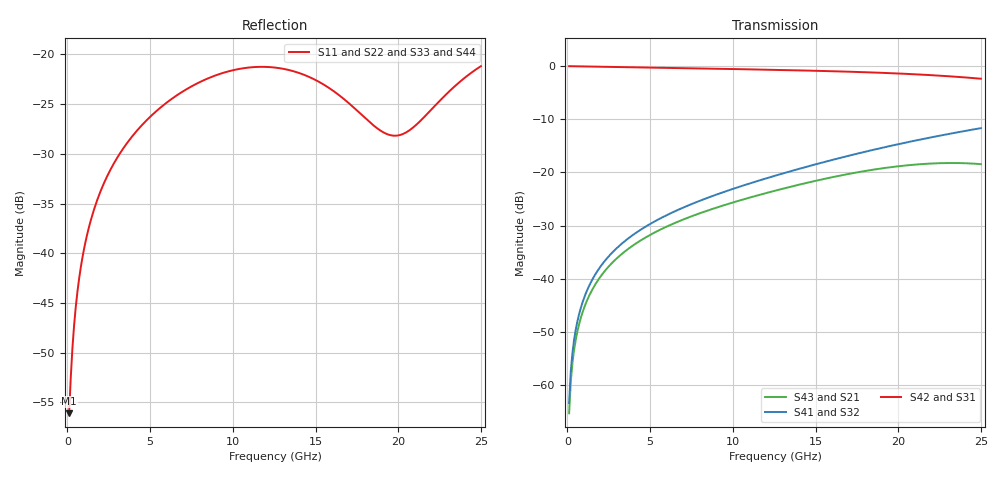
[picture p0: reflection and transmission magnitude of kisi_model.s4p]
! kisi E_s8_L1L8_p1000_round_g4: fast channel model (formula impedances, via model), up to 25 GHz
# Hz S RI R 50
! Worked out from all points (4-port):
!   250 points, 100 MHz to 25 GHz, reference 50 ohm
!   strongest paths, dB at 100 MHz, 6.3 GHz, 12.6 GHz, 18.8 GHz, 25 GHz:
!     S42: 0.0, -0.3, -0.7, -1.2, -2.4
!     S31: 0.0, -0.3, -0.7, -1.2, -2.4
!     S41: -63.4, -27.6, -20.6, -15.5, -11.7
!     S32: -63.4, -27.6, -20.6, -15.5, -11.7
!     S43: -65.3, -29.8, -23.4, -19.3, -18.4
!     S21: -65.3, -29.8, -23.4, -19.3, -18.4
!   lowest |S11| = -56.1 dB at 100 MHz (marker M1), VSWR 1.00, Z = 50.1 - j0.102 ohm
!   |S11| at or under -10 dB: start of sweep to end of sweep
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1e8  0.00119 -0.00102  2.67e-05 0.000544  0.9973 -0.0386  -3.69e-05 -0.000678
     2.67e-05 0.000544  0.00119 -0.00102  -3.69e-05 -0.000678  0.9973 -0.0386
     0.9973 -0.0386  -3.69e-05 -0.000678  0.00119 -0.00102  2.67e-05 0.000544
     -3.69e-05 -0.000678  0.9973 -0.0386  2.67e-05 0.000544  0.00119 -0.00102
4e9  -0.0395 -0.000856  0.0206 0.00245  0.0876 -0.9702  -0.026 -0.00249
     0.0206 0.00245  -0.0395 -0.000856  -0.026 -0.00249  0.0876 -0.9702
     0.0876 -0.9702  -0.026 -0.00249  -0.0395 -0.000856  0.0206 0.00245
     -0.026 -0.00249  0.0876 -0.9702  0.0206 0.00245  -0.0395 -0.000856
7.9e9  -0.0137 0.0706  0.0115 -0.0391  -0.9255 -0.2191  -0.0129 0.0518
       0.0115 -0.0391  -0.0137 0.0706  -0.0129 0.0518  -0.9255 -0.2191
       -0.9255 -0.2191  -0.0129 0.0518  -0.0137 0.0706  0.0115 -0.0391
       -0.0129 0.0518  -0.9255 -0.2191  0.0115 -0.0391  -0.0137 0.0706
1.25e10  0.0843 0.0171  -0.0661 -0.0109  -0.1052 0.9156  0.0921 0.00989
         -0.0661 -0.0109  0.0843 0.0171  0.0921 0.00989  -0.1052 0.9156
         -0.1052 0.9156  0.0921 0.00989  0.0843 0.0171  -0.0661 -0.0109
         0.0921 0.00989  -0.1052 0.9156  -0.0661 -0.0109  0.0843 0.0171
1.69e10  0.0254 -0.0521  -0.00167 0.0962  0.8856 0.0464  -0.00358 -0.1421
         -0.00167 0.0962  0.0254 -0.0521  -0.00358 -0.1421  0.8856 0.0464
         0.8856 0.0464  -0.00358 -0.1421  0.0254 -0.0521  -0.00167 0.0962
         -0.00358 -0.1421  0.8856 0.0464  -0.00167 0.0962  0.0254 -0.0521
2.09e10  0.00723 -0.0423  0.1177 -0.00948  0.0958 -0.8336  -0.1968 0.0155
         0.1177 -0.00948  0.00723 -0.0423  -0.1968 0.0155  0.0958 -0.8336
         0.0958 -0.8336  -0.1968 0.0155  0.00723 -0.0423  0.1177 -0.00948
         -0.1968 0.0155  0.0958 -0.8336  0.1177 -0.00948  0.00723 -0.0423
2.5e10  -0.0574 -0.0658  -0.0362 -0.1141  -0.7556 -0.0873  0.0631 0.2532
        -0.0362 -0.1141  -0.0574 -0.0658  0.0631 0.2532  -0.7556 -0.0873
        -0.7556 -0.0873  0.0631 0.2532  -0.0574 -0.0658  -0.0362 -0.1141
        0.0631 0.2532  -0.7556 -0.0873  -0.0362 -0.1141  -0.0574 -0.0658
